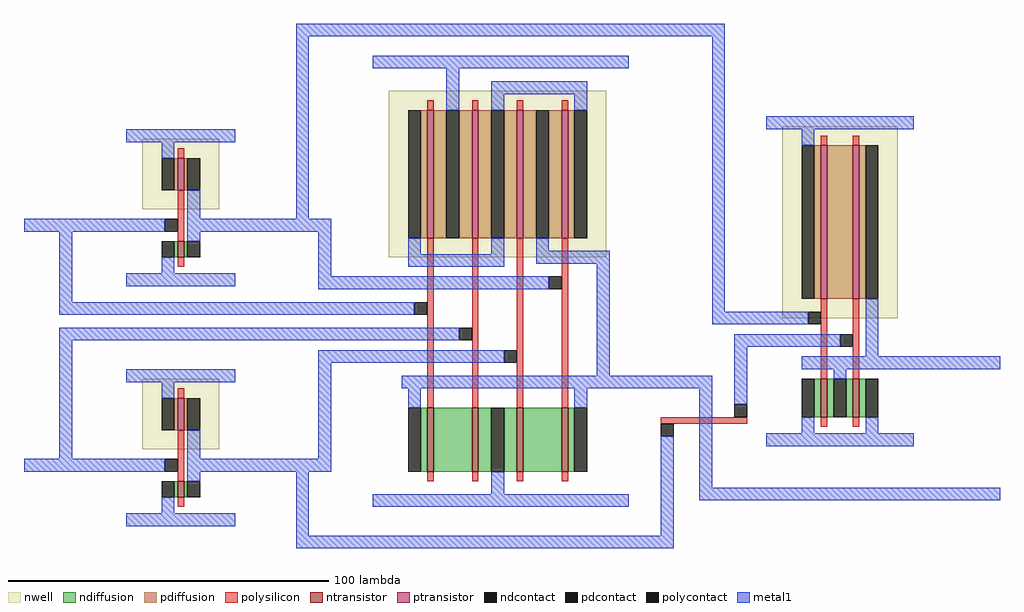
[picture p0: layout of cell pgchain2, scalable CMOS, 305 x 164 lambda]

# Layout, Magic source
magic
tech scmos
<< polysilicon >>
rect 93 26 120 28
<< polycontact >>
rect 116 28 120 32
rect 93 22 97 26
<< metal1 >>
rect -21 147 113 151
rect -21 90 -17 147
rect -106 86 -74 90
rect -40 86 -10 90
rect -95 64 -91 86
rect -14 72 -10 86
rect -14 68 0 72
rect -95 60 0 64
rect 109 61 113 147
rect 109 57 125 61
rect -95 52 0 56
rect -95 15 -91 52
rect 116 50 125 54
rect -14 45 0 49
rect -14 15 -10 45
rect 82 37 109 41
rect -106 11 -74 15
rect -40 11 -10 15
rect -21 -9 -17 11
rect 93 -9 97 22
rect 105 6 109 37
rect 116 32 120 50
rect 170 43 199 47
rect 105 2 199 6
rect -21 -13 97 -9
use inv_W_2  inv_W_2_0
transform 1 0 -57 0 1 108
box -17 -39 17 10
use inv_W_2  inv_W_2_1
transform 1 0 -57 0 1 33
box -17 -39 17 10
use xor_W  xor_W_0
transform 1 0 27 0 1 89
box -27 -89 56 52
use and  and_0
transform 1 0 156 0 1 67
box -31 -48 16 55
<< end >>

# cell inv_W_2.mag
magic
tech scmos
<< nwell >>
rect -12 -15 12 7
<< ntransistor >>
rect -1 -30 1 -25
<< ptransistor >>
rect -1 -9 1 1
<< ndiffusion >>
rect -2 -30 -1 -25
rect 1 -30 2 -25
<< pdiffusion >>
rect -2 -9 -1 1
rect 1 -9 2 1
<< ndcontact >>
rect -6 -30 -2 -25
rect 2 -30 6 -25
<< pdcontact >>
rect -6 -9 -2 1
rect 2 -9 6 1
<< polysilicon >>
rect -1 1 1 4
rect -1 -25 1 -9
rect -1 -33 1 -30
<< polycontact >>
rect -5 -22 -1 -18
<< metal1 >>
rect -17 6 17 10
rect -6 1 -2 6
rect 2 -18 6 -9
rect -17 -22 -5 -18
rect 2 -22 17 -18
rect 2 -25 6 -22
rect -6 -35 -2 -30
rect -17 -39 17 -35
<< labels >>
rlabel metal1 -17 6 17 10 5 vdd
rlabel metal1 -17 -39 17 -35 1 gnd
rlabel metal1 -17 -22 -5 -18 1 input
rlabel metal1 2 -22 17 -18 1 output
<< end >>

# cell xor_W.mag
magic
tech scmos
<< nwell >>
rect -19 -11 49 41
<< ntransistor >>
rect -7 -78 -5 -58
rect 7 -78 9 -58
rect 21 -78 23 -58
rect 35 -78 37 -58
<< ptransistor >>
rect -7 -5 -5 35
rect 7 -5 9 35
rect 21 -5 23 35
rect 35 -5 37 35
<< ndiffusion >>
rect -9 -78 -7 -58
rect -5 -78 7 -58
rect 9 -78 13 -58
rect 17 -78 21 -58
rect 23 -78 35 -58
rect 37 -78 39 -58
<< pdiffusion >>
rect -9 -5 -7 35
rect -5 -5 -1 35
rect 3 -5 7 35
rect 9 -5 13 35
rect 17 -5 21 35
rect 23 -5 27 35
rect 31 -5 35 35
rect 37 -5 39 35
<< ndcontact >>
rect -13 -78 -9 -58
rect 13 -78 17 -58
rect 39 -78 43 -58
<< pdcontact >>
rect -13 -5 -9 35
rect -1 -5 3 35
rect 13 -5 17 35
rect 27 -5 31 35
rect 39 -5 43 35
<< polysilicon >>
rect -7 35 -5 38
rect 7 35 9 38
rect 21 35 23 38
rect 35 35 37 38
rect -7 -58 -5 -5
rect 7 -58 9 -5
rect 21 -58 23 -5
rect 35 -58 37 -5
rect -7 -81 -5 -78
rect 7 -81 9 -78
rect 21 -81 23 -78
rect 35 -81 37 -78
<< polycontact >>
rect -11 -29 -7 -25
rect 3 -37 7 -33
rect 17 -44 21 -40
rect 31 -21 35 -17
<< metal1 >>
rect -24 48 56 52
rect -1 35 3 48
rect 13 40 43 44
rect 13 35 17 40
rect 39 35 43 40
rect -13 -10 -9 -5
rect 13 -10 17 -5
rect -13 -14 17 -10
rect 27 -9 31 -5
rect 27 -13 50 -9
rect -27 -21 31 -17
rect -27 -29 -11 -25
rect -27 -37 3 -33
rect -27 -44 17 -40
rect 46 -48 50 -13
rect -15 -52 55 -48
rect -13 -58 -9 -52
rect 39 -58 43 -52
rect 13 -85 17 -78
rect -24 -89 56 -85
<< labels >>
rlabel metal1 -24 48 56 52 5 vdd
rlabel metal1 -24 -89 56 -85 1 gnd
rlabel metal1 -15 -52 55 -48 1 out
rlabel metal1 -27 -21 31 -17 1 in_a_bar
rlabel metal1 -27 -29 -11 -25 1 in_a
rlabel metal1 -27 -37 3 -33 1 in_b
rlabel metal1 -27 -44 17 -40 1 in_b_bar
<< end >>

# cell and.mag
magic
tech scmos
<< nwell >>
rect -25 -8 11 52
<< ntransistor >>
rect -13 -39 -11 -27
rect -3 -39 -1 -27
<< ptransistor >>
rect -13 -2 -11 46
rect -3 -2 -1 46
<< ndiffusion >>
rect -15 -39 -13 -27
rect -11 -39 -9 -27
rect -5 -39 -3 -27
rect -1 -39 1 -27
<< pdiffusion >>
rect -15 -2 -13 46
rect -11 -2 -3 46
rect -1 -2 1 46
<< ndcontact >>
rect -19 -39 -15 -27
rect -9 -39 -5 -27
rect 1 -39 5 -27
<< pdcontact >>
rect -19 -2 -15 46
rect 1 -2 5 46
<< polysilicon >>
rect -13 46 -11 49
rect -3 46 -1 49
rect -13 -27 -11 -2
rect -3 -27 -1 -2
rect -13 -42 -11 -39
rect -3 -42 -1 -39
<< polycontact >>
rect -17 -10 -13 -6
rect -7 -17 -3 -13
<< metal1 >>
rect -30 51 16 55
rect -19 46 -15 51
rect -31 -10 -17 -6
rect -31 -17 -7 -13
rect 1 -20 5 -2
rect -19 -24 14 -20
rect -9 -27 -5 -24
rect -19 -44 -15 -39
rect 1 -44 5 -39
rect -30 -48 16 -44
<< labels >>
rlabel metal1 -31 -10 -17 -6 1 in1
rlabel metal1 -31 -17 -7 -13 1 in2
rlabel metal1 -19 -24 14 -20 1 out
rlabel metal1 -30 51 16 55 5 vdd
rlabel metal1 -30 -48 16 -44 1 gnd
<< end >>
